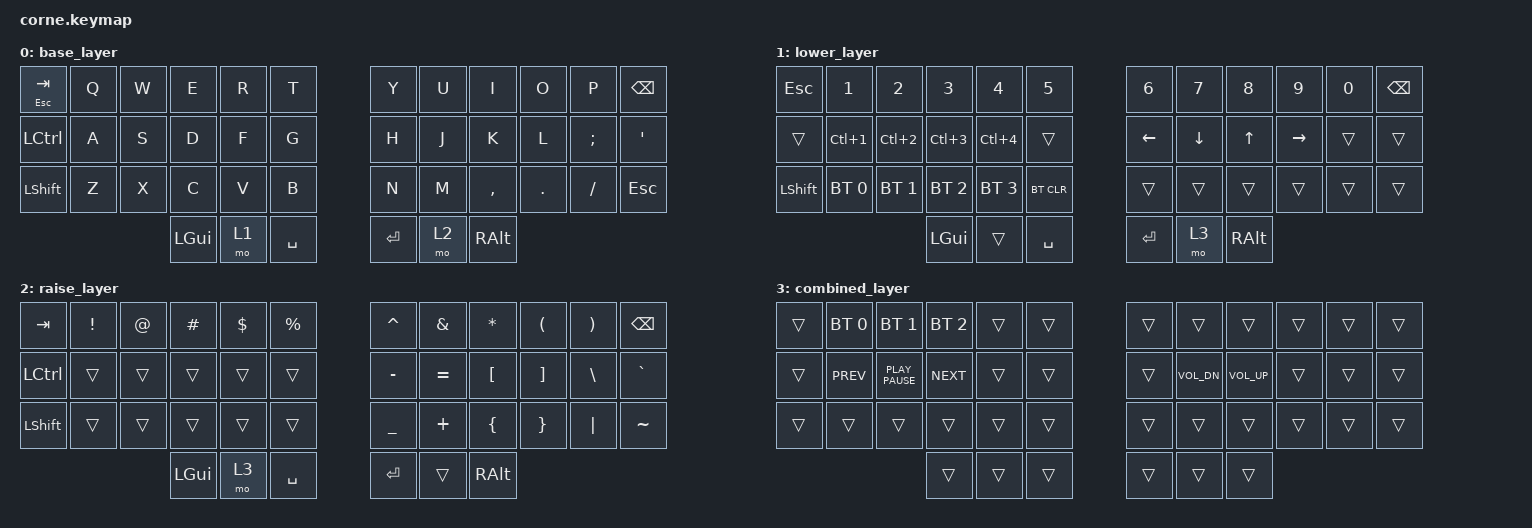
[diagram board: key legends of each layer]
/*
 * Copyright (c) 2020 The ZMK Contributors
 *
 * SPDX-License-Identifier: MIT
 */

#include <behaviors.dtsi>
#include <dt-bindings/zmk/bt.h>
#include <dt-bindings/zmk/keys.h>

#define MASTER_RIGHT

/ {
    behaviors {
        esc_on_tab_hold: esc_on_tab_hold {
            compatible = "zmk,behavior-hold-tap";
            label = "ESC_ON_TAB_HOLD";
            bindings = <&kp>, <&kp>;

            #binding-cells = <2>;
            flavor = "balanced";
            tapping-term-ms = <100>;
            hold-trigger-key-positions = <0>;
        };
    };

    keymap {
        compatible = "zmk,keymap";

        base_layer {
            // -----------------------------------------------------------------------------------------
            // |  TAB |  Q  |  W  |  E  |  R  |  T  |   |  Y  |  U   |  I  |  O  |  P  | BKSP |
            // | CTRL |  A  |  S  |  D  |  F  |  G  |   |  H  |  J   |  K  |  L  |  ;  |  '   |
            // | SHFT |  Z  |  X  |  C  |  V  |  B  |   |  N  |  M   |  ,  |  .  |  /  | ESC  |
            //                    | GUI | LWR | SPC |   | ENT | RSE  | ALT |

            bindings = <
&esc_on_tab_hold ESC TAB  &kp Q  &kp W  &kp E     &kp R  &kp T        &kp Y    &kp U  &kp I      &kp O    &kp P     &kp BSPC
&kp LCTRL                 &kp A  &kp S  &kp D     &kp F  &kp G        &kp H    &kp J  &kp K      &kp L    &kp SEMI  &kp SQT
&kp LSHFT                 &kp Z  &kp X  &kp C     &kp V  &kp B        &kp N    &kp M  &kp COMMA  &kp DOT  &kp FSLH  &kp ESC
                                        &kp LGUI  &mo 1  &kp SPACE    &kp RET  &mo 2  &kp RALT
            >;
        };

        lower_layer {
            // -----------------------------------------------------------------------------------------
            // |  TAB |  1  |  2  |  3  |  4  |  5  |   |  6  |  7  |  8  |  9  |  0  | BKSP |
            // | OUT_BLE | BT1 | BT2 | BT3 | BT4 | OUT_USB |   | LFT | DWN |  UP | RGT |     |      |
            // | SHFT |     |     |     |     |     |   |     |     |     |     |     | OUT_TOG |
            //                    | GUI |     | SPC |   | ENT |     | ALT |

            bindings = <
&kp ESCAPE  &kp N1            &kp N2            &kp N3            &kp N4            &kp N5        &kp N6    &kp N7    &kp N8    &kp N9     &kp N0  &kp BSPC
&trans      &kp LC(NUMBER_1)  &kp LC(NUMBER_2)  &kp LC(NUMBER_3)  &kp LC(NUMBER_4)  &trans        &kp LEFT  &kp DOWN  &kp UP    &kp RIGHT  &trans  &trans
&kp LSHFT   &bt BT_SEL 0      &bt BT_SEL 1      &bt BT_SEL 2      &bt BT_SEL 3      &bt BT_CLR    &trans    &trans    &trans    &trans     &trans  &trans
                                                &kp LGUI          &trans            &kp SPACE     &kp RET   &mo 3     &kp RALT
            >;
        };

        raise_layer {
            // -----------------------------------------------------------------------------------------
            // |  TAB |  !  |  @  |  #  |  $  |  %  |   |  ^  |  &  |  *  |  (  |  )  | BKSP |
            // | CTRL |     |     |     |     |     |   |  -  |  =  |  [  |  ]  |  \  |  `   |
            // | SHFT |     |     |     |     |     |   |  _  |  +  |  {  |  }  | "|" |  ~   |
            //                    | GUI |     | SPC |   | ENT |     | ALT |

            bindings = <
&kp TAB    &kp EXCL  &kp AT  &kp HASH  &kp DLLR  &kp PRCNT    &kp CARET  &kp AMPS   &kp ASTRK  &kp LPAR  &kp RPAR  &kp BACKSPACE
&kp LCTRL  &trans    &trans  &trans    &trans    &trans       &kp MINUS  &kp EQUAL  &kp LBKT   &kp RBKT  &kp BSLH  &kp GRAVE
&kp LSHFT  &trans    &trans  &trans    &trans    &trans       &kp UNDER  &kp PLUS   &kp LBRC   &kp RBRC  &kp PIPE  &kp TILDE
                             &kp LGUI  &mo 3     &kp SPACE    &kp RET    &trans     &kp RALT
            >;
        };

        combined_layer {
            bindings = <
&trans  &bt BT_SEL 0  &bt BT_SEL 1      &bt BT_SEL 2  &trans  &trans    &trans  &trans        &trans        &trans  &trans  &trans
&trans  &kp K_PREV    &kp K_PLAY_PAUSE  &kp K_NEXT    &trans  &trans    &trans  &kp C_VOL_DN  &kp C_VOL_UP  &trans  &trans  &trans
&trans  &trans        &trans            &trans        &trans  &trans    &trans  &trans        &trans        &trans  &trans  &trans
                                        &trans        &trans  &trans    &trans  &trans        &trans
            >;
        };
    };
}
